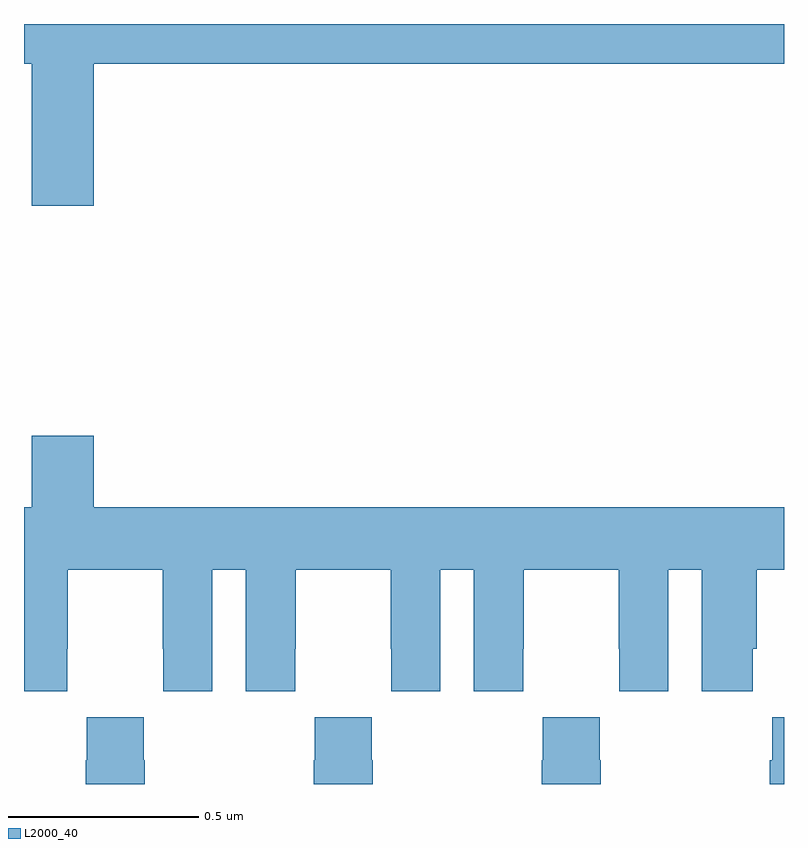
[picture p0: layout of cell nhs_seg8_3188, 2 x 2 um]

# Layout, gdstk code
import gdstk
lib = gdstk.Library(unit=1e-6, precision=1e-09)
def P(c, l, *ps):  # polygons
    for p in ps: c.add(gdstk.Polygon(p, *l))
L2000_40 = (2000, 40)

nhs_seg8_3188 = lib.new_cell('nhs_seg8_3188')
P(nhs_seg8_3188, L2000_40, [(153.184,1153.796),(155,1153.796),(155,1153.9),(153,1153.9),(153,1153.796),(153.02,1153.796),(153.02,1153.422),(153.184,1153.422)],
  [(153.114,1152.256),(153.115,1152.256),(153.115,1152.464),(153.365,1152.464),(153.365,1152.256),(153.366,1152.256),(153.366,1152.144),(153.496,1152.144),(153.496,1152.464),(153.584,1152.464),(153.584,1152.144),(153.714,1152.144),(153.714,1152.256),(153.715,1152.256),(153.715,1152.464),(153.965,1152.464),(153.965,1152.256),(153.966,1152.256),(153.966,1152.144),(154.096,1152.144),(154.096,1152.464),(154.184,1152.464),(154.184,1152.144),(154.314,1152.144),(154.314,1152.256),(154.315,1152.256),(154.315,1152.464),(154.565,1152.464),(154.565,1152.256),(154.566,1152.256),(154.566,1152.144),(154.696,1152.144),(154.696,1152.464),(154.784,1152.464),(154.784,1152.144),(154.918,1152.144),(154.918,1152.256),(154.928,1152.256),(154.928,1152.464),(155,1152.464),(155,1152.628),(153.184,1152.628),(153.184,1152.817),(153.02,1152.817),(153.02,1152.628),(153,1152.628),(153,1152.144),(153.114,1152.144)],
  [(153.318,1151.963),(153.315,1151.963),(153.315,1152.076),(153.165,1152.076),(153.165,1151.963),(153.163,1151.963),(153.163,1151.9),(153.318,1151.9)],
  [(153.918,1151.963),(153.915,1151.963),(153.915,1152.076),(153.765,1152.076),(153.765,1151.963),(153.763,1151.963),(153.763,1151.9),(153.918,1151.9)],
  [(154.518,1151.963),(154.515,1151.963),(154.515,1152.076),(154.365,1152.076),(154.365,1151.963),(154.363,1151.963),(154.363,1151.9),(154.518,1151.9)],
  [(155,1152.076),(154.969,1152.076),(154.969,1151.963),(154.963,1151.963),(154.963,1151.9),(155,1151.9)])

lib.write_gds('nhs_seg8_3188.gds')
